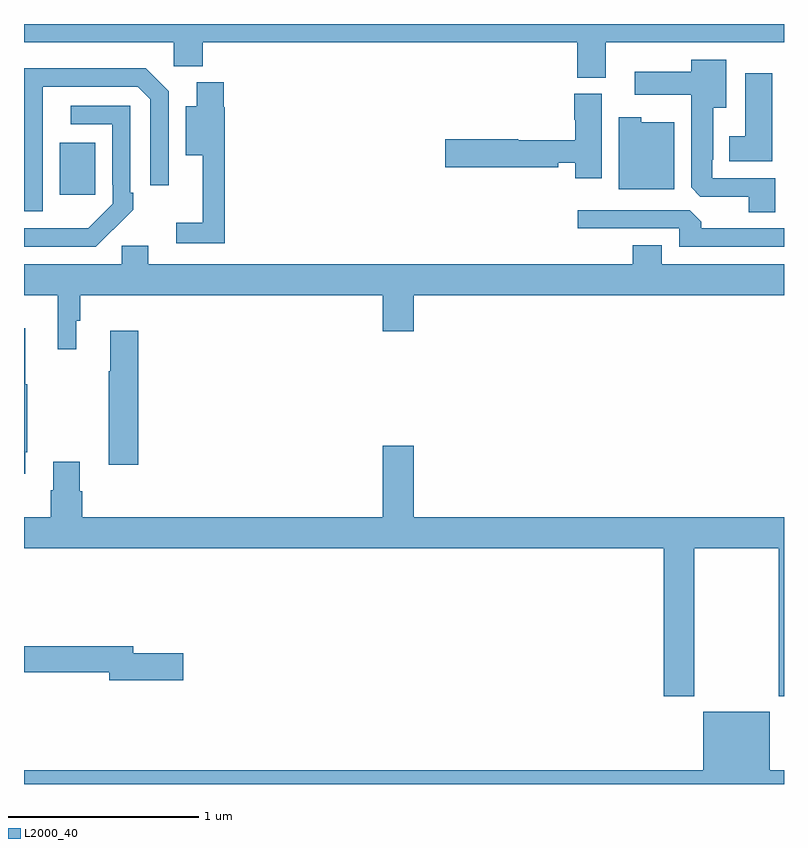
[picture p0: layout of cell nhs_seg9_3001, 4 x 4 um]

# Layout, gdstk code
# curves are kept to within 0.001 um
import gdstk
lib = gdstk.Library(unit=1e-6, precision=1e-09)
def R(c, l, rs):  # rectangles x0, y0, x1, y1
    for r in rs: c.add(gdstk.rectangle(r[:2], r[2:], *l))
def P(c, l, *ps):  # polygons
    for p in ps: c.add(gdstk.Polygon(p, *l))
L2000_40 = (2000, 40)

nhs_seg9_3001 = lib.new_cell('nhs_seg9_3001')
R(nhs_seg9_3001, L2000_40, [(283.187,1211.601,283.375,1211.875)])
P(nhs_seg9_3001, L2000_40, [(286.063,1212.404),(287,1212.404),(287,1212.5),(283,1212.5),(283,1212.404),(283.788,1212.404),(283.788,1212.278),(283.94,1212.278),(283.94,1212.404),(285.911,1212.404),(285.911,1212.217),(286.063,1212.217)],
  [(286.954,1211.688),(286.623,1211.688),(286.623,1211.785),(286.627,1211.785),(286.627,1212.059),(286.696,1212.059),(286.696,1212.313),(286.511,1212.313),(286.511,1212.25),(286.215,1212.25),(286.215,1212.128),(286.511,1212.128),(286.511,1211.641),(286.56,1211.592),(286.814,1211.592),(286.814,1211.509),(286.954,1211.509)],
  [(283.098,1211.971),(283.099,1212.171),(283.599,1212.171),(283.665,1212.105),(283.665,1211.652),(283.761,1211.652),(283.761,1212.147),(283.64,1212.268),(283,1212.268),(283,1212.158),(283.002,1212.158),(283.002,1211.61),(283,1211.61),(283,1211.514),(283.098,1211.514)],
  [(286.939,1212.241),(286.796,1212.241),(286.796,1211.908),(286.712,1211.908),(286.712,1211.777),(286.939,1211.777)],
  [(284.057,1212.063),(284.051,1212.063),(284.051,1212.193),(283.91,1212.193),(283.91,1212.067),(283.85,1212.067),(283.85,1211.81),(283.94,1211.81),(283.94,1211.455),(283.8,1211.455),(283.8,1211.346),(284.057,1211.346)],
  [(286.042,1212.132),(285.896,1212.132),(285.896,1211.996),(285.901,1211.996),(285.901,1211.888),(285.6,1211.888),(285.6,1211.894),(285.216,1211.894),(285.216,1211.747),(285.812,1211.747),(285.812,1211.77),(285.901,1211.77),(285.901,1211.688),(286.042,1211.688)],
  [(283.469,1211.419),(283.47,1211.418),(283.575,1211.523),(283.575,1211.611),(283.56,1211.611),(283.56,1212.069),(283.245,1212.069),(283.245,1211.973),(283.464,1211.973),(283.464,1211.653),(283.467,1211.653),(283.467,1211.553),(283.339,1211.425),(283,1211.424),(283,1211.328),(283.378,1211.328)],
  [(286.423,1211.983),(286.248,1211.983),(286.248,1212.01),(286.13,1212.01),(286.13,1211.63),(286.423,1211.63)],
  [(287,1211.424),(286.565,1211.424),(286.565,1211.458),(286.503,1211.52),(285.915,1211.52),(285.915,1211.424),(286.449,1211.424),(286.449,1211.328),(287,1211.328)],
  [(284.888,1210.884),(285.052,1210.884),(285.052,1211.072),(287,1211.072),(287,1211.236),(286.357,1211.236),(286.357,1211.335),(286.205,1211.335),(286.205,1211.236),(283.654,1211.236),(283.654,1211.334),(283.515,1211.334),(283.515,1211.236),(283,1211.236),(283,1211.072),(283.177,1211.072),(283.177,1210.788),(283.276,1210.788),(283.276,1210.938),(283.295,1210.938),(283.295,1211.072),(284.888,1211.072)],
  [(283.006,1210.246),(283.018,1210.246),(283.018,1210.605),(283.006,1210.605),(283.006,1210.9),(283,1210.9),(283,1210.134),(283.006,1210.134)],
  [(283.601,1210.885),(283.454,1210.885),(283.454,1210.672),(283.447,1210.672),(283.447,1210.179),(283.601,1210.179)],
  [(286.527,1209.74),(286.972,1209.74),(286.972,1208.961),(287,1208.961),(287,1209.904),(285.052,1209.904),(285.052,1210.279),(284.888,1210.279),(284.888,1209.904),(283.307,1209.904),(283.307,1210.041),(283.294,1210.041),(283.294,1210.195),(283.154,1210.195),(283.154,1210.046),(283.142,1210.046),(283.142,1209.904),(283,1209.904),(283,1209.74),(286.367,1209.74),(286.367,1208.961),(286.527,1208.961)],
  [(283.837,1209.188),(283.576,1209.188),(283.576,1209.224),(283,1209.224),(283,1209.088),(283.448,1209.088),(283.448,1209.046),(283.837,1209.046)],
  [(287,1208.572),(286.924,1208.572),(286.924,1208.881),(286.574,1208.881),(286.574,1208.572),(283,1208.572),(283,1208.5),(287,1208.5)])

lib.write_gds('nhs_seg9_3001.gds')
